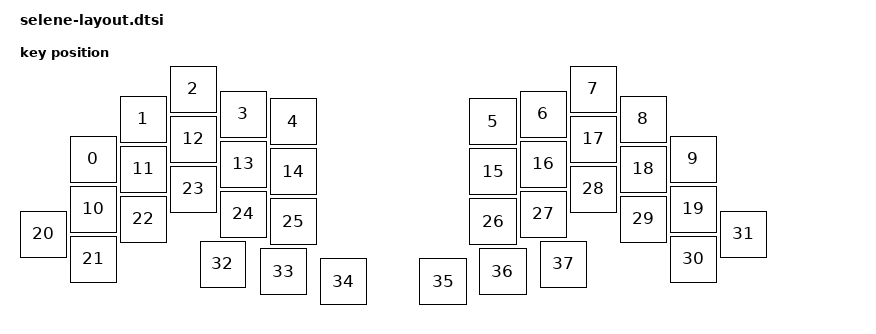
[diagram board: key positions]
#include <physical_layouts.dtsi>

/ {
    selene_layout: selene_layout {
        compatible = "zmk,physical-layout";
        display-name = "Default";

        keys  //                     w   h    x    y     rot    rx    ry
            = <&key_physical_attrs 100 100  100  140       0     0     0>
            , <&key_physical_attrs 100 100  200   60       0     0     0>
            , <&key_physical_attrs 100 100  300    0       0     0     0>
            , <&key_physical_attrs 100 100  400   50       0     0     0>
            , <&key_physical_attrs 100 100  500   65       0     0     0>
            , <&key_physical_attrs 100 100  900   65       0     0     0>
            , <&key_physical_attrs 100 100 1000   50       0     0     0>
            , <&key_physical_attrs 100 100 1100    0       0     0     0>
            , <&key_physical_attrs 100 100 1200   60       0     0     0>
            , <&key_physical_attrs 100 100 1300  140       0     0     0>
            , <&key_physical_attrs 100 100  100  240       0     0     0>
            , <&key_physical_attrs 100 100  200  160       0     0     0>
            , <&key_physical_attrs 100 100  300  100       0     0     0>
            , <&key_physical_attrs 100 100  400  150       0     0     0>
            , <&key_physical_attrs 100 100  500  165       0     0     0>
            , <&key_physical_attrs 100 100  900  165       0     0     0>
            , <&key_physical_attrs 100 100 1000  150       0     0     0>
            , <&key_physical_attrs 100 100 1100  100       0     0     0>
            , <&key_physical_attrs 100 100 1200  160       0     0     0>
            , <&key_physical_attrs 100 100 1300  240       0     0     0>
            , <&key_physical_attrs 100 100    0  290       0     0     0>
            , <&key_physical_attrs 100 100  100  340       0     0     0>
            , <&key_physical_attrs 100 100  200  260       0     0     0>
            , <&key_physical_attrs 100 100  300  200       0     0     0>
            , <&key_physical_attrs 100 100  400  250       0     0     0>
            , <&key_physical_attrs 100 100  500  265       0     0     0>
            , <&key_physical_attrs 100 100  900  265       0     0     0>
            , <&key_physical_attrs 100 100 1000  250       0     0     0>
            , <&key_physical_attrs 100 100 1100  200       0     0     0>
            , <&key_physical_attrs 100 100 1200  260       0     0     0>
            , <&key_physical_attrs 100 100 1300  340       0     0     0>
            , <&key_physical_attrs 100 100 1400  290       0     0     0>
            , <&key_physical_attrs 100 100  360  350       0     0     0>
            , <&key_physical_attrs 100 100  480  365       0     0     0>
            , <&key_physical_attrs 100 100  600  385       0     0     0>
            , <&key_physical_attrs 100 100  800  385       0     0     0>
            , <&key_physical_attrs 100 100  920  365       0     0     0>
            , <&key_physical_attrs 100 100 1040  350       0     0     0>
            ;
    };
};

